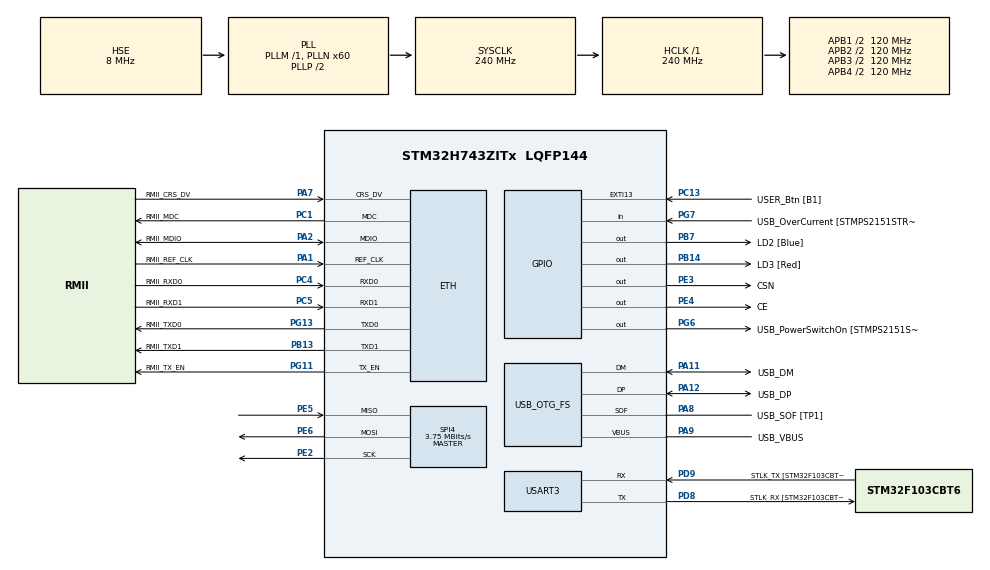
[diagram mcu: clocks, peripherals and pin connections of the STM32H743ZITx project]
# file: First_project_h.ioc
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SPI4.VirtualType=VM_MASTER
PB14.GPIO_Label=LD3 [Red]
PG6.GPIO_Label=USB_PowerSwitchOn [STMPS2151STR_EN]
RCC.PLLFRACN=0
PC5.Mode=RMII
PB13.Signal=ETH_TXD1
PG13.Signal=ETH_TXD0
RCC.SYSCLKSource=RCC_SYSCLKSOURCE_PLLCLK
USART3.VirtualMode-Asynchronous=VM_ASYNC
PE2.Mode=Full_Duplex_Master
RCC.APB2TimFreq_Value=216000000
PD8.Signal=USART3_TX
PE5.Signal=SPI4_MISO
NVIC.EXTI15_10_IRQn=true\:0\:0\:false\:false\:true\:true\:true
RCC.DIVM1=1
PC4.GPIO_Label=RMII_RXD0
PE4.GPIO_Label=CE
PE2.Signal=SPI4_SCK
PA8.Signal=USB_OTG_FS_SOF
Mcu.Package=LQFP144
RCC.PLL3FRACN=0
PA10.Signal=USB_OTG_FS_ID
PC14-OSC32_IN\ (OSC32_IN).Mode=LSE-External-Oscillator
RCC.APB2CLKDivider=RCC_HCLK_DIV2
RCC.APB4Freq_Value=120000000
RCC.APB1TimFreq_Value=108000000
PB13.Mode=RMII
PH0-OSC_IN\ (PH0).Mode=HSE-External-Oscillator
PC4.Mode=RMII
RCC.DIVQ1=10
PD9.GPIO_Label=STLK_TX [STM32F103CBT6_PA2]
PA9.GPIO_Label=USB_VBUS
PC13.Signal=GPXTI13
PA11.GPIO_Label=USB_DM
RCC.APB1CLKDivider=RCC_HCLK_DIV4
PG13.GPIO_Label=RMII_TXD0
RCC.PWR_Regulator_Voltage_Scale=PWR_REGULATOR_VOLTAGE_SCALE1
PA8.GPIO_Label=USB_SOF [TP1]
PA9.Signal=USB_OTG_FS_VBUS
RCC.DIVN1=60
PD8.Mode=Asynchronous
PB14.Signal=GPIO_Output
PA1.Mode=RMII
PE6.Mode=Full_Duplex_Master
RCC.PRESCALERUSB=RCC_USBCLKSOURCE_PLL_DIV1_5
PG7.GPIO_Label=USB_OverCurrent [STMPS2151STR_FAULT]
PA1.GPIO_Label=RMII_REF_CLK
ETH.MediaInterface=HAL_ETH_RMII_MODE
PG11.Mode=RMII
PA11.Signal=USB_OTG_FS_DM
ProjectManager.HeapSize=0x200
NVIC.PriorityGroup=NVIC_PRIORITYGROUP_4
PE3.Signal=GPIO_Output
PA8.Mode=Activate_SOF_FS
PC1.Signal=ETH_MDC
PC1.Mode=RMII
Mcu.Family=STM32H7
RCC.CortexFreq_Value=240000000
PG6.Signal=GPIO_Output
PH0-OSC_IN\ (PH0).Signal=RCC_OSC_IN
PC15-OSC32_OUT\ (OSC32_OUT).Mode=LSE-External-Oscillator
RCC.SYSCLKSourceVirtual=RCC_SYSCLKSOURCE_PLLCLK
SPI4.Direction=SPI_DIRECTION_2LINES
PA11.Mode=Device_Only
RCC.PLL2FRACN=0
PC13.GPIO_Label=USER_Btn [B1]
PB13.GPIO_Label=RMII_TXD1
PD9.Mode=Asynchronous
PG11.Signal=ETH_TX_EN
ProjectManager.StackSize=0x400
PA12.Signal=USB_OTG_FS_DP
SPI4.Mode=SPI_MODE_MASTER
RCC.HCLKFreq_Value=240000000
RCC.AHBFreq_Value=216000000
PH1-OSC_OUT\ (PH1).Mode=HSE-External-Oscillator
RCC.HSE_VALUE=8000000
RCC.PLLMUL=RCC_PLL_MUL9
PA10.GPIO_Label=USB_ID
PB7.Signal=GPIO_Output
PG13.Mode=RMII
PE4.Signal=GPIO_Output
SPI4.BaudRatePrescaler=SPI_BAUDRATEPRESCALER_32
RCC.APB3Freq_Value=120000000
PB7.GPIO_Label=LD2 [Blue]
RCC.D1PPRE=RCC_APB3_DIV2
PA2.GPIO_Label=RMII_MDIO
USB_OTG_FS.VirtualMode=Device_Only
PG11.GPIO_Label=RMII_TX_EN
PC5.Signal=ETH_RXD1
CORTEX_M7.CPU_ICache=Enabled
PA7.Mode=RMII
PG7.Signal=GPIO_Input
PC4.Signal=ETH_RXD0
RCC.D2PPRE2=RCC_APB2_DIV2
RCC.D2PPRE1=RCC_APB1_DIV2
PD9.Signal=USART3_RX
PA12.GPIO_Label=USB_DP
PH1-OSC_OUT\ (PH1).Signal=RCC_OSC_OUT
PD8.GPIO_Label=STLK_RX [STM32F103CBT6_PA3]
PA9.Mode=Activate_VBUS
ProjectManager.TargetToolchain=TrueSTUDIO
PC15-OSC32_OUT\ (OSC32_OUT).Signal=RCC_OSC32_OUT
RCC.USBFreq_Value=48000000
PA1.Signal=ETH_REF_CLK
board=NUCLEO-H743ZI
RCC.VCOOutputFreq_Value=432000000
RCC.APB2Freq_Value=120000000
PE5.Mode=Full_Duplex_Master
RCC.ADCFreq_Value=16125000
PC1.GPIO_Label=RMII_MDC
SPI4.CalculateBaudRate=3.75 MBits/s
PE6.Signal=SPI4_MOSI
Mcu.Name=STM32H743ZITx
PA2.Signal=ETH_MDIO
RCC.48MHZClocksFreq_Value=24000000
RCC.SYSCLKFreq_VALUE=240000000
PA7.GPIO_Label=RMII_CRS_DV
PA12.Mode=Device_Only
PC14-OSC32_IN\ (OSC32_IN).Signal=RCC_OSC32_IN
PC5.GPIO_Label=RMII_RXD1
RCC.HSI_VALUE=64000000
RCC.PLLQ=9
PH0-OSC_IN\ (PH0).GPIO_Label=MCO
RCC.PLLM=25
RCC.PLLN=432
PA2.Mode=RMII
PE3.GPIO_Label=CSN
RCC.D3PPRE=RCC_APB4_DIV2
CORTEX_M7.CPU_DCache=Enabled
RCC.APB1Freq_Value=120000000
PA7.Signal=ETH_CRS_DV

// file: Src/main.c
/* USER CODE BEGIN Header */
/**
  ******************************************************************************
  * @file           : main.c
  * @brief          : Main program body
  ******************************************************************************
  * @attention
  *
  * <h2><center>&copy; Copyright (c) 2020 STMicroelectronics.
  * All rights reserved.</center></h2>
  *
  * This software component is licensed by ST under BSD 3-Clause license,
  * the "License"; You may not use this file except in compliance with the
  * License. You may obtain a copy of the License at:
  *                        opensource.org/licenses/BSD-3-Clause
  *
  ******************************************************************************
  */
/* USER CODE END Header */

#include "main.h"
#include "string.h"

/* USER CODE BEGIN Includes */
#include "MY_NRF24.h"
#include "stdbool.h"
/* USER CODE END Includes */

/* USER CODE BEGIN PTD */
char myTxData[32] = "Hello World!";
char AckPayload[32];
/* USER CODE END PTD */

/* USER CODE BEGIN PM */
uint64_t TxpipeAddrs = 0x11223344AA;

/* USER CODE END PM */

#if defined ( __ICCARM__ ) /*!< IAR Compiler */

#pragma location=0x30040000
ETH_DMADescTypeDef  DMARxDscrTab[ETH_RX_DESC_CNT]; /* Ethernet Rx DMA Descriptors */
#pragma location=0x30040060
ETH_DMADescTypeDef  DMATxDscrTab[ETH_TX_DESC_CNT]; /* Ethernet Tx DMA Descriptors */
#pragma location=0x30040200
uint8_t Rx_Buff[ETH_RX_DESC_CNT][ETH_MAX_PACKET_SIZE]; /* Ethernet Receive Buffers */

#elif defined ( __CC_ARM )  /* MDK ARM Compiler */

__attribute__((at(0x30040000))) ETH_DMADescTypeDef  DMARxDscrTab[ETH_RX_DESC_CNT]; /* Ethernet Rx DMA Descriptors */
__attribute__((at(0x30040060))) ETH_DMADescTypeDef  DMATxDscrTab[ETH_TX_DESC_CNT]; /* Ethernet Tx DMA Descriptors */
__attribute__((at(0x30040200))) uint8_t Rx_Buff[ETH_RX_DESC_CNT][ETH_MAX_PACKET_SIZE]; /* Ethernet Receive Buffer */

#elif defined ( __GNUC__ ) /* GNU Compiler */

ETH_DMADescTypeDef DMARxDscrTab[ETH_RX_DESC_CNT] __attribute__((section(".RxDecripSection"))); /* Ethernet Rx DMA Descriptors */
ETH_DMADescTypeDef DMATxDscrTab[ETH_TX_DESC_CNT] __attribute__((section(".TxDecripSection")));   /* Ethernet Tx DMA Descriptors */
uint8_t Rx_Buff[ETH_RX_DESC_CNT][ETH_MAX_PACKET_SIZE] __attribute__((section(".RxArraySection"))); /* Ethernet Receive Buffers */

#endif

ETH_TxPacketConfig TxConfig;

ETH_HandleTypeDef heth;

SPI_HandleTypeDef hspi4;

UART_HandleTypeDef huart3;

PCD_HandleTypeDef hpcd_USB_OTG_FS;

void SystemClock_Config(void);
static void MX_GPIO_Init(void);
static void MX_ETH_Init(void);
static void MX_USART3_UART_Init(void);
static void MX_USB_OTG_FS_PCD_Init(void);
static void MX_SPI4_Init(void);
/* USER CODE BEGIN PFP */
#if (defined(__GNUC__) && !defined(__CC_ARM))
/* With GCC/RAISONANCE, small printf (option LD Linker->Libraries->Small printf
   set to 'Yes') calls __io_putchar() */
#define PUTCHAR_PROTOTYPE int __io_putchar(int ch)
#define GETCHAR_PROTOTYPE int __io_getchar(void)
#else
#define PUTCHAR_PROTOTYPE int fputc(int ch, FILE *f)
#define GETCHAR_PROTOTYPE int fgetc(FILE *f)
#endif /* __GNUC__ */

/**
  * @brief  Retargets the C library printf function to the USART.
  * @param  None
  * @retval None
  */
PUTCHAR_PROTOTYPE
{
  /* Place your implementation of fputc here */
  /* e.g. write a character to the USART2 and Loop until the end of transmission */
  while (HAL_OK != HAL_UART_Transmit(&huart3, (uint8_t *) &ch, 1, 30000))
  {
    ;
  }
  return ch;
}

/**
  * @brief  Retargets the C library scanf function to the USART.
  * @param  None
  * @retval None
  */
GETCHAR_PROTOTYPE
{
  /* Place your implementation of fgetc here */
  /* e.g. read a character on USART and loop until the end of read */
  uint8_t ch = 0;
  while (HAL_OK != HAL_UART_Receive(&huart3, (uint8_t *)&ch, 1, 30000))
  {
    ;
  }
  return ch;
}
/* USER CODE END PFP */

int main(void)
{

  /* Enable I-Cache---------------------------------------------------------*/
  SCB_EnableICache();

  /* Enable D-Cache---------------------------------------------------------*/
  SCB_EnableDCache();

  /* MCU Configuration--------------------------------------------------------*/

  /* Reset of all peripherals, Initializes the Flash interface and the Systick. */
  HAL_Init();

  /* Configure the system clock */
  SystemClock_Config();

  /* Initialize all configured peripherals */
  MX_GPIO_Init();
//  MX_ETH_Init();
  MX_USART3_UART_Init();
  MX_USB_OTG_FS_PCD_Init();
  MX_SPI4_Init();
  /* USER CODE BEGIN 2 */
  printf("Initiate \n\r");
  NRF24_begin(CE_GPIO_Port,CSN_Pin,CE_Pin,hspi4);
  nrf24_DebugUART_Init(huart3);
  HAL_Delay(1000);
  printRadioSettings();

	//**** TRANSMIT - ACK ****//
	NRF24_stopListening();
	NRF24_openWritingPipe(TxpipeAddrs);
	NRF24_setAutoAck(false);
	NRF24_setChannel(76);
	NRF24_setPayloadSize(32);
	printf("finish configuration \n\r");
  /* USER CODE END 2 */

  /* Infinite loop */
  /* USER CODE BEGIN WHILE */
  while (1)
  {
	  printf("start sending \n\r");
		if(NRF24_write(myTxData, 32))
		{
			//NRF24_read(AckPayload, 32);
			HAL_UART_Transmit(&huart3, (uint8_t *)"Transmitted Successfully\r\n", strlen("Transmitted Successfully\r\n"), 10);
			char myDataack[80];
			sprintf(myDataack, "AckPayload:  %s \r\n", AckPayload);
			HAL_UART_Transmit(&huart3, (uint8_t *)myDataack, strlen(myDataack), 10);
		}

		HAL_Delay(1000);
    /* USER CODE END WHILE */

  }
}

void SystemClock_Config(void)
{
  RCC_OscInitTypeDef RCC_OscInitStruct = {0};
  RCC_ClkInitTypeDef RCC_ClkInitStruct = {0};
  RCC_PeriphCLKInitTypeDef PeriphClkInitStruct = {0};

  /** Supply configuration update enable
  */
  HAL_PWREx_ConfigSupply(PWR_LDO_SUPPLY);
  /** Configure the main internal regulator output voltage
  */
  __HAL_PWR_VOLTAGESCALING_CONFIG(PWR_REGULATOR_VOLTAGE_SCALE1);

  while(!__HAL_PWR_GET_FLAG(PWR_FLAG_VOSRDY)) {}
  /** Initializes the CPU, AHB and APB busses clocks
  */
  RCC_OscInitStruct.OscillatorType = RCC_OSCILLATORTYPE_HSE;
  RCC_OscInitStruct.HSEState = RCC_HSE_ON;
  RCC_OscInitStruct.PLL.PLLState = RCC_PLL_ON;
  RCC_OscInitStruct.PLL.PLLSource = RCC_PLLSOURCE_HSE;
  RCC_OscInitStruct.PLL.PLLM = 1;
  RCC_OscInitStruct.PLL.PLLN = 60;
  RCC_OscInitStruct.PLL.PLLP = 2;
  RCC_OscInitStruct.PLL.PLLQ = 10;
  RCC_OscInitStruct.PLL.PLLR = 2;
  RCC_OscInitStruct.PLL.PLLRGE = RCC_PLL1VCIRANGE_3;
  RCC_OscInitStruct.PLL.PLLVCOSEL = RCC_PLL1VCOWIDE;
  RCC_OscInitStruct.PLL.PLLFRACN = 0;
  if (HAL_RCC_OscConfig(&RCC_OscInitStruct) != HAL_OK)
  {
    Error_Handler();
  }
  /** Initializes the CPU, AHB and APB busses clocks
  */
  RCC_ClkInitStruct.ClockType = RCC_CLOCKTYPE_HCLK|RCC_CLOCKTYPE_SYSCLK
                              |RCC_CLOCKTYPE_PCLK1|RCC_CLOCKTYPE_PCLK2
                              |RCC_CLOCKTYPE_D3PCLK1|RCC_CLOCKTYPE_D1PCLK1;
  RCC_ClkInitStruct.SYSCLKSource = RCC_SYSCLKSOURCE_PLLCLK;
  RCC_ClkInitStruct.SYSCLKDivider = RCC_SYSCLK_DIV1;
  RCC_ClkInitStruct.AHBCLKDivider = RCC_HCLK_DIV1;
  RCC_ClkInitStruct.APB3CLKDivider = RCC_APB3_DIV2;
  RCC_ClkInitStruct.APB1CLKDivider = RCC_APB1_DIV2;
  RCC_ClkInitStruct.APB2CLKDivider = RCC_APB2_DIV2;
  RCC_ClkInitStruct.APB4CLKDivider = RCC_APB4_DIV2;

  if (HAL_RCC_ClockConfig(&RCC_ClkInitStruct, FLASH_LATENCY_4) != HAL_OK)
  {
    Error_Handler();
  }
  PeriphClkInitStruct.PeriphClockSelection = RCC_PERIPHCLK_USART3|RCC_PERIPHCLK_SPI4
                              |RCC_PERIPHCLK_USB;
  PeriphClkInitStruct.Spi45ClockSelection = RCC_SPI45CLKSOURCE_D2PCLK1;
  PeriphClkInitStruct.Usart234578ClockSelection = RCC_USART234578CLKSOURCE_D2PCLK1;
  PeriphClkInitStruct.UsbClockSelection = RCC_USBCLKSOURCE_PLL;
  if (HAL_RCCEx_PeriphCLKConfig(&PeriphClkInitStruct) != HAL_OK)
  {
    Error_Handler();
  }
  /** Enable USB Voltage detector
  */
  HAL_PWREx_EnableUSBVoltageDetector();
}

static void MX_ETH_Init(void)
{

  heth.Instance = ETH;
  heth.Init.MACAddr[0] =   0x00;
  heth.Init.MACAddr[1] =   0x80;
  heth.Init.MACAddr[2] =   0xE1;
  heth.Init.MACAddr[3] =   0x00;
  heth.Init.MACAddr[4] =   0x00;
  heth.Init.MACAddr[5] =   0x00;
  heth.Init.MediaInterface = HAL_ETH_RMII_MODE;
  heth.Init.TxDesc = DMATxDscrTab;
  heth.Init.RxDesc = DMARxDscrTab;
  heth.Init.RxBuffLen = 1524;

  if (HAL_ETH_Init(&heth) != HAL_OK)
  {
    Error_Handler();
  }

  memset(&TxConfig, 0 , sizeof(ETH_TxPacketConfig));
  TxConfig.Attributes = ETH_TX_PACKETS_FEATURES_CSUM | ETH_TX_PACKETS_FEATURES_CRCPAD;
  TxConfig.ChecksumCtrl = ETH_CHECKSUM_IPHDR_PAYLOAD_INSERT_PHDR_CALC;
  TxConfig.CRCPadCtrl = ETH_CRC_PAD_INSERT;

}

static void MX_SPI4_Init(void)
{

  /* SPI4 parameter configuration*/
  hspi4.Instance = SPI4;
  hspi4.Init.Mode = SPI_MODE_MASTER;
  hspi4.Init.Direction = SPI_DIRECTION_2LINES;
  hspi4.Init.DataSize = SPI_DATASIZE_4BIT;
  hspi4.Init.CLKPolarity = SPI_POLARITY_LOW;
  hspi4.Init.CLKPhase = SPI_PHASE_1EDGE;
  hspi4.Init.NSS = SPI_NSS_SOFT;
  hspi4.Init.BaudRatePrescaler = SPI_BAUDRATEPRESCALER_64;
  hspi4.Init.FirstBit = SPI_FIRSTBIT_MSB;
  hspi4.Init.TIMode = SPI_TIMODE_DISABLE;
  hspi4.Init.CRCCalculation = SPI_CRCCALCULATION_DISABLE;
  hspi4.Init.CRCPolynomial = 0x0;
  hspi4.Init.NSSPMode = SPI_NSS_PULSE_ENABLE;
  hspi4.Init.NSSPolarity = SPI_NSS_POLARITY_LOW;
  hspi4.Init.FifoThreshold = SPI_FIFO_THRESHOLD_01DATA;
  hspi4.Init.TxCRCInitializationPattern = SPI_CRC_INITIALIZATION_ALL_ZERO_PATTERN;
  hspi4.Init.RxCRCInitializationPattern = SPI_CRC_INITIALIZATION_ALL_ZERO_PATTERN;
  hspi4.Init.MasterSSIdleness = SPI_MASTER_SS_IDLENESS_00CYCLE;
  hspi4.Init.MasterInterDataIdleness = SPI_MASTER_INTERDATA_IDLENESS_00CYCLE;
  hspi4.Init.MasterReceiverAutoSusp = SPI_MASTER_RX_AUTOSUSP_DISABLE;
  hspi4.Init.MasterKeepIOState = SPI_MASTER_KEEP_IO_STATE_DISABLE;
  hspi4.Init.IOSwap = SPI_IO_SWAP_DISABLE;
  if (HAL_SPI_Init(&hspi4) != HAL_OK)
  {
    Error_Handler();
  }

}

static void MX_USART3_UART_Init(void)
{

  huart3.Instance = USART3;
  huart3.Init.BaudRate = 115200;
  huart3.Init.WordLength = UART_WORDLENGTH_8B;
  huart3.Init.StopBits = UART_STOPBITS_1;
  huart3.Init.Parity = UART_PARITY_NONE;
  huart3.Init.Mode = UART_MODE_TX_RX;
  huart3.Init.HwFlowCtl = UART_HWCONTROL_NONE;
  huart3.Init.OverSampling = UART_OVERSAMPLING_16;
  huart3.Init.OneBitSampling = UART_ONE_BIT_SAMPLE_DISABLE;
  huart3.Init.ClockPrescaler = UART_PRESCALER_DIV1;
  huart3.AdvancedInit.AdvFeatureInit = UART_ADVFEATURE_NO_INIT;
  if (HAL_UART_Init(&huart3) != HAL_OK)
  {
    Error_Handler();
  }
  if (HAL_UARTEx_SetTxFifoThreshold(&huart3, UART_TXFIFO_THRESHOLD_1_8) != HAL_OK)
  {
    Error_Handler();
  }
  if (HAL_UARTEx_SetRxFifoThreshold(&huart3, UART_RXFIFO_THRESHOLD_1_8) != HAL_OK)
  {
    Error_Handler();
  }
  if (HAL_UARTEx_DisableFifoMode(&huart3) != HAL_OK)
  {
    Error_Handler();
  }

}

static void MX_USB_OTG_FS_PCD_Init(void)
{

  hpcd_USB_OTG_FS.Instance = USB_OTG_FS;
  hpcd_USB_OTG_FS.Init.dev_endpoints = 9;
  hpcd_USB_OTG_FS.Init.speed = PCD_SPEED_FULL;
  hpcd_USB_OTG_FS.Init.dma_enable = DISABLE;
  hpcd_USB_OTG_FS.Init.phy_itface = PCD_PHY_EMBEDDED;
  hpcd_USB_OTG_FS.Init.Sof_enable = ENABLE;
  hpcd_USB_OTG_FS.Init.low_power_enable = DISABLE;
  hpcd_USB_OTG_FS.Init.lpm_enable = DISABLE;
  hpcd_USB_OTG_FS.Init.battery_charging_enable = ENABLE;
  hpcd_USB_OTG_FS.Init.vbus_sensing_enable = ENABLE;
  hpcd_USB_OTG_FS.Init.use_dedicated_ep1 = DISABLE;
  if (HAL_PCD_Init(&hpcd_USB_OTG_FS) != HAL_OK)
  {
    Error_Handler();
  }

}

static void MX_GPIO_Init(void)
{
  GPIO_InitTypeDef GPIO_InitStruct = {0};

  /* GPIO Ports Clock Enable */
  __HAL_RCC_GPIOE_CLK_ENABLE();
  __HAL_RCC_GPIOC_CLK_ENABLE();
  __HAL_RCC_GPIOH_CLK_ENABLE();
  __HAL_RCC_GPIOA_CLK_ENABLE();
  __HAL_RCC_GPIOB_CLK_ENABLE();
  __HAL_RCC_GPIOD_CLK_ENABLE();
  __HAL_RCC_GPIOG_CLK_ENABLE();

  /*Configure GPIO pin Output Level */
  HAL_GPIO_WritePin(GPIOB, LD3_Pin|LD2_Pin, GPIO_PIN_RESET);

  /*Configure GPIO pin Output Level */
  HAL_GPIO_WritePin(USB_PowerSwitchOn_GPIO_Port, USB_PowerSwitchOn_Pin, GPIO_PIN_RESET);

  /*Configure GPIO pin : USER_Btn_Pin */
  GPIO_InitStruct.Pin = USER_Btn_Pin;
  GPIO_InitStruct.Mode = GPIO_MODE_IT_RISING;
  GPIO_InitStruct.Pull = GPIO_NOPULL;
  HAL_GPIO_Init(USER_Btn_GPIO_Port, &GPIO_InitStruct);

  /*Configure GPIO pins : LD3_Pin LD2_Pin */
  GPIO_InitStruct.Pin = LD3_Pin|LD2_Pin;
  GPIO_InitStruct.Mode = GPIO_MODE_OUTPUT_PP;
  GPIO_InitStruct.Pull = GPIO_NOPULL;
  GPIO_InitStruct.Speed = GPIO_SPEED_FREQ_LOW;
  HAL_GPIO_Init(GPIOB, &GPIO_InitStruct);

  /*Configure GPIO pin : USB_PowerSwitchOn_Pin */
  GPIO_InitStruct.Pin = USB_PowerSwitchOn_Pin;
  GPIO_InitStruct.Mode = GPIO_MODE_OUTPUT_PP;
  GPIO_InitStruct.Pull = GPIO_NOPULL;
  GPIO_InitStruct.Speed = GPIO_SPEED_FREQ_LOW;
  HAL_GPIO_Init(USB_PowerSwitchOn_GPIO_Port, &GPIO_InitStruct);

  /*Configure GPIO pin : USB_OverCurrent_Pin */
  GPIO_InitStruct.Pin = USB_OverCurrent_Pin;
  GPIO_InitStruct.Mode = GPIO_MODE_INPUT;
  GPIO_InitStruct.Pull = GPIO_NOPULL;
  HAL_GPIO_Init(USB_OverCurrent_GPIO_Port, &GPIO_InitStruct);

  /* EXTI interrupt init*/
  HAL_NVIC_SetPriority(EXTI15_10_IRQn, 0, 0);
  HAL_NVIC_EnableIRQ(EXTI15_10_IRQn);

}

void Error_Handler(void)
{
}

/************************ (C) COPYRIGHT STMicroelectronics *****END OF FILE****/
